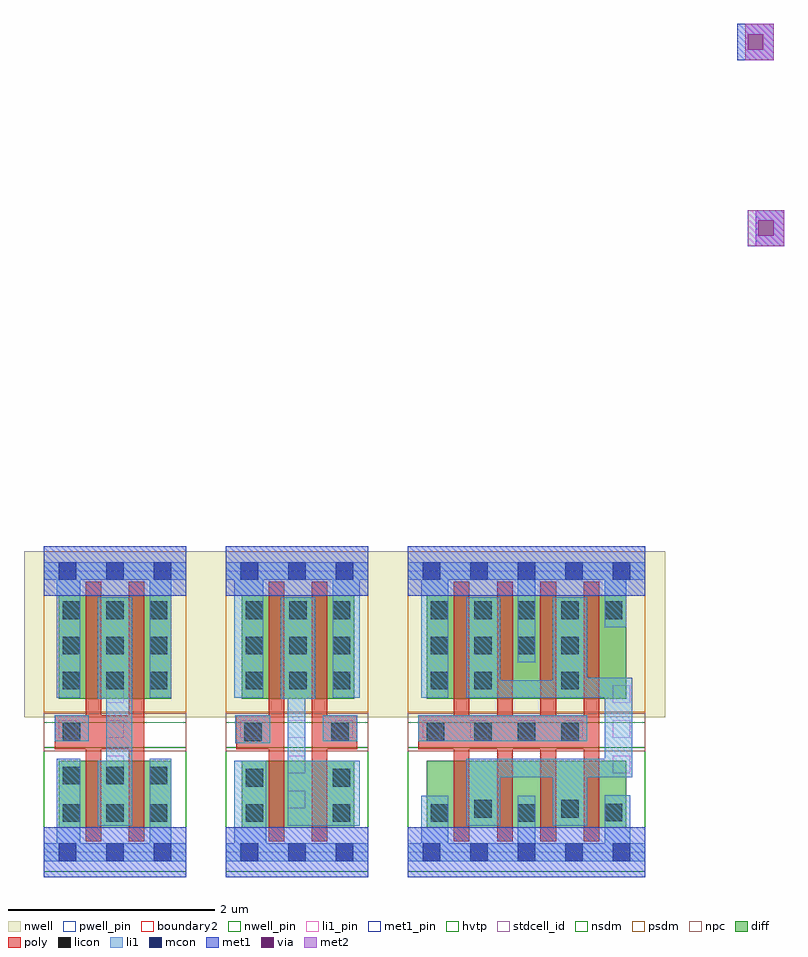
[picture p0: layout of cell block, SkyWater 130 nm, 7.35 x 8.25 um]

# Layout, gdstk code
import gdstk
lib = gdstk.Library(unit=1e-6, precision=1e-09)
def R(c, l, rs):  # rectangles x0, y0, x1, y1
    for r in rs: c.add(gdstk.rectangle(r[:2], r[2:], *l))
def A(c, l, x, y, w, h, nx, ny, dx, dy):  # array of equal rectangles
    R(c, l, [(x+i*dx, y+j*dy, x+i*dx+w, y+j*dy+h) for i in range(nx) for j in range(ny)])
def P(c, l, *ps):  # polygons
    for p in ps: c.add(gdstk.Polygon(p, *l))
nwell_pin = (64, 16)
nwell = (64, 20)
diff = (65, 20)
poly = (66, 20)
licon = (66, 44)
li1_pin = (67, 16)
li1 = (67, 20)
mcon = (67, 44)
met1_pin = (68, 16)
met1 = (68, 20)
via = (68, 44)
met2 = (69, 20)
hvtp = (78, 44)
stdcell_id = (81, 4)
nsdm = (93, 44)
psdm = (94, 20)
npc = (95, 20)
pwell_pin = (122, 16)
boundary2 = (236, 0)

sky130_fd_sc_hd__inv_2 = lib.new_cell('sky130_fd_sc_hd__inv_2')
R(sky130_fd_sc_hd__inv_2, nwell_pin, [(0.145,2.635,0.315,2.805)])
R(sky130_fd_sc_hd__inv_2, nwell, [(-0.19,1.305,1.57,2.91)])
R(sky130_fd_sc_hd__inv_2, diff, [(0.145,0.235,1.235,0.885), (0.145,1.485,1.235,2.485)])
P(sky130_fd_sc_hd__inv_2, poly, [(0.405,0.105),(0.405,0.995),(0.105,0.995),(0.105,1.325),(0.405,1.325),(0.405,2.615),(0.555,2.615),(0.555,1.325),(0.825,1.325),(0.825,2.615),(0.975,2.615),(0.975,0.105),(0.825,0.105),(0.825,0.995),(0.555,0.995),(0.555,0.105)])
A(sky130_fd_sc_hd__inv_2, licon, 0.185, 0.295, 0.17, 0.17, 3, 2, 0.42, 0.36)
A(sky130_fd_sc_hd__inv_2, licon, 0.185, 1.575, 0.17, 0.17, 3, 3, 0.42, 0.34)
R(sky130_fd_sc_hd__inv_2, licon, [(0.185,1.075,0.355,1.245)])
A(sky130_fd_sc_hd__inv_2, li1_pin, 0.605, 0.765, 0.17, 0.17, 1, 3, 0, 0.34)
R(sky130_fd_sc_hd__inv_2, li1_pin, [(0.145,1.105,0.315,1.275)])
R(sky130_fd_sc_hd__inv_2, li1, [(0.105,1.075,0.435,1.325)])
P(sky130_fd_sc_hd__inv_2, li1, [(0.125,1.495),(0.125,2.635),(0,2.635),(0,2.805),(1.38,2.805),(1.38,2.635),(1.235,2.635),(1.235,1.495),(1.025,1.495),(1.025,2.635),(0.355,2.635),(0.355,1.495)],
  [(0.525,0.255),(0.525,0.885),(0.605,0.885),(0.605,1.485),(0.525,1.485),(0.525,2.465),(0.855,2.465),(0.855,0.255)],
  [(0,-0.085),(0,0.085),(0.125,0.085),(0.125,0.905),(0.355,0.905),(0.355,0.085),(1.025,0.085),(1.025,0.905),(1.235,0.905),(1.235,0.085),(1.38,0.085),(1.38,-0.085)])
A(sky130_fd_sc_hd__inv_2, mcon, 0.145, -0.085, 0.17, 0.17, 3, 2, 0.46, 2.72)
R(sky130_fd_sc_hd__inv_2, met1_pin, [(0.145,-0.085,0.315,0.085), (0.145,2.635,0.315,2.805)])
R(sky130_fd_sc_hd__inv_2, hvtp, [(0,1.25,1.38,2.72)])
R(sky130_fd_sc_hd__inv_2, stdcell_id, [(0,0,1.38,2.72)])
R(sky130_fd_sc_hd__inv_2, nsdm, [(0,-0.19,1.38,1.015)])
R(sky130_fd_sc_hd__inv_2, psdm, [(0,1.355,1.38,2.91)])
R(sky130_fd_sc_hd__inv_2, npc, [(0,0.975,1.38,1.345)])
R(sky130_fd_sc_hd__inv_2, pwell_pin, [(0.145,-0.085,0.315,0.085)])
R(sky130_fd_sc_hd__inv_2, boundary2, [(0,0,1.38,2.72)])
sky130_fd_sc_hd__inv_2.add(gdstk.FlexPath([(0,2.72),(1.38,2.72)], 0.48, ends="flush", simple_path=True, layer=68, datatype=20))  # met1
sky130_fd_sc_hd__inv_2.add(gdstk.FlexPath([(0,0),(1.38,0)], 0.48, ends="flush", simple_path=True, layer=68, datatype=20))  # met1
sky130_fd_sc_hd__inv_2.add(gdstk.Label('A', (0.23,1.19), layer=67, texttype=5))
sky130_fd_sc_hd__inv_2.add(gdstk.Label('Y', (0.69,0.85), layer=67, texttype=5))
sky130_fd_sc_hd__inv_2.add(gdstk.Label('Y', (0.69,1.53), layer=67, texttype=5))
sky130_fd_sc_hd__inv_2.add(gdstk.Label('Y', (0.69,1.19), layer=67, texttype=5))
sky130_fd_sc_hd__inv_2.add(gdstk.Label('VPB', (0.23,2.72), layer=64, texttype=5))
sky130_fd_sc_hd__inv_2.add(gdstk.Label('VNB', (0.23,0), layer=64, texttype=59))
sky130_fd_sc_hd__inv_2.add(gdstk.Label('VPWR', (0.23,2.72), layer=68, texttype=5))
sky130_fd_sc_hd__inv_2.add(gdstk.Label('VGND', (0.23,0), layer=68, texttype=5))
sky130_fd_sc_hd__inv_2.add(gdstk.Label('inv_2', (0,0), layer=83, texttype=44))

sky130_fd_sc_hd__nand2_1 = lib.new_cell('sky130_fd_sc_hd__nand2_1')
R(sky130_fd_sc_hd__nand2_1, nwell_pin, [(0.14,2.635,0.31,2.805)])
R(sky130_fd_sc_hd__nand2_1, nwell, [(-0.19,1.305,1.57,2.91)])
R(sky130_fd_sc_hd__nand2_1, diff, [(0.155,0.235,1.245,0.885), (0.155,1.485,1.245,2.485)])
P(sky130_fd_sc_hd__nand2_1, poly, [(0.835,0.105),(0.835,2.615),(0.985,2.615),(0.985,1.325),(1.275,1.325),(1.275,0.995),(0.985,0.995),(0.985,0.105)],
  [(0.415,0.105),(0.415,0.995),(0.105,0.995),(0.105,1.325),(0.415,1.325),(0.415,2.615),(0.565,2.615),(0.565,0.105)])
A(sky130_fd_sc_hd__nand2_1, licon, 0.195, 1.575, 0.17, 0.17, 3, 3, 0.42, 0.34)
R(sky130_fd_sc_hd__nand2_1, licon, [(0.195,0.295,0.365,0.465), (1.035,0.295,1.205,0.465), (0.195,0.635,0.365,0.805), (1.035,0.635,1.205,0.805), (0.18,1.075,0.35,1.245), (1.02,1.075,1.19,1.245)])
A(sky130_fd_sc_hd__nand2_1, li1_pin, 0.14, 1.105, 0.17, 0.17, 3, 1, 0.46, 0)
R(sky130_fd_sc_hd__nand2_1, li1_pin, [(0.6,0.425,0.77,0.595), (0.6,0.765,0.77,0.935)])
R(sky130_fd_sc_hd__nand2_1, li1, [(0.095,1.055,0.43,1.325), (0.94,1.075,1.275,1.325)])
P(sky130_fd_sc_hd__nand2_1, li1, [(0,-0.085),(0,0.085),(0.085,0.085),(0.085,0.885),(0.395,0.885),(0.395,0.085),(1.38,0.085),(1.38,-0.085)],
  [(0.085,1.495),(0.085,2.635),(0,2.635),(0,2.805),(1.38,2.805),(1.38,2.635),(1.295,2.635),(1.295,1.495),(1.035,1.495),(1.035,2.635),(0.365,2.635),(0.365,1.495)],
  [(0.6,0.255),(0.6,1.485),(0.535,1.485),(0.535,2.465),(0.865,2.465),(0.865,1.485),(0.77,1.485),(0.77,0.885),(1.295,0.885),(1.295,0.255)])
A(sky130_fd_sc_hd__nand2_1, mcon, 0.145, -0.085, 0.17, 0.17, 3, 2, 0.46, 2.72)
R(sky130_fd_sc_hd__nand2_1, met1_pin, [(0.14,-0.085,0.31,0.085), (0.14,2.635,0.31,2.805)])
R(sky130_fd_sc_hd__nand2_1, hvtp, [(0,1.25,1.38,2.72)])
R(sky130_fd_sc_hd__nand2_1, stdcell_id, [(0,0,1.38,2.72)])
R(sky130_fd_sc_hd__nand2_1, nsdm, [(0,-0.19,1.38,1.015)])
R(sky130_fd_sc_hd__nand2_1, psdm, [(0,1.355,1.38,2.91)])
R(sky130_fd_sc_hd__nand2_1, npc, [(0,0.975,1.38,1.345)])
R(sky130_fd_sc_hd__nand2_1, pwell_pin, [(0.14,-0.085,0.31,0.085)])
R(sky130_fd_sc_hd__nand2_1, boundary2, [(0,0,1.38,2.72)])
sky130_fd_sc_hd__nand2_1.add(gdstk.FlexPath([(0,2.72),(1.38,2.72)], 0.48, ends="flush", simple_path=True, layer=68, datatype=20))  # met1
sky130_fd_sc_hd__nand2_1.add(gdstk.FlexPath([(0,0),(1.38,0)], 0.48, ends="flush", simple_path=True, layer=68, datatype=20))  # met1
sky130_fd_sc_hd__nand2_1.add(gdstk.Label('Y', (0.685,0.51), layer=67, texttype=5))
sky130_fd_sc_hd__nand2_1.add(gdstk.Label('Y', (0.685,0.85), layer=67, texttype=5))
sky130_fd_sc_hd__nand2_1.add(gdstk.Label('Y', (0.685,1.19), layer=67, texttype=5))
sky130_fd_sc_hd__nand2_1.add(gdstk.Label('B', (0.225,1.19), layer=67, texttype=5))
sky130_fd_sc_hd__nand2_1.add(gdstk.Label('A', (1.145,1.19), layer=67, texttype=5))
sky130_fd_sc_hd__nand2_1.add(gdstk.Label('VPB', (0.225,2.72), layer=64, texttype=5))
sky130_fd_sc_hd__nand2_1.add(gdstk.Label('VNB', (0.225,0), layer=64, texttype=59))
sky130_fd_sc_hd__nand2_1.add(gdstk.Label('VGND', (0.23,0), layer=68, texttype=5))
sky130_fd_sc_hd__nand2_1.add(gdstk.Label('VPWR', (0.225,2.72), layer=68, texttype=5))
sky130_fd_sc_hd__nand2_1.add(gdstk.Label('nand2_1', (0,0), layer=83, texttype=44))

sky130_fd_sc_hd__inv_4 = lib.new_cell('sky130_fd_sc_hd__inv_4')
R(sky130_fd_sc_hd__inv_4, nwell_pin, [(0.145,2.635,0.315,2.805)])
R(sky130_fd_sc_hd__inv_4, nwell, [(-0.19,1.305,2.49,2.91)])
R(sky130_fd_sc_hd__inv_4, diff, [(0.185,0.235,2.115,0.885), (0.185,1.485,2.115,2.485)])
P(sky130_fd_sc_hd__inv_4, poly, [(0.445,0.105),(0.445,0.995),(0.105,0.995),(0.105,1.325),(0.445,1.325),(0.445,2.615),(0.595,2.615),(0.595,1.325),(0.865,1.325),(0.865,2.615),(1.015,2.615),(1.015,1.325),(1.285,1.325),(1.285,2.615),(1.435,2.615),(1.435,1.325),(1.705,1.325),(1.705,2.615),(1.855,2.615),(1.855,0.105),(1.705,0.105),(1.705,0.995),(1.435,0.995),(1.435,0.105),(1.285,0.105),(1.285,0.995),(1.015,0.995),(1.015,0.105),(0.865,0.105),(0.865,0.995),(0.595,0.995),(0.595,0.105)])
A(sky130_fd_sc_hd__inv_4, licon, 0.645, 1.075, 0.17, 0.17, 3, 1, 0.42, 0)
A(sky130_fd_sc_hd__inv_4, licon, 0.225, 1.915, 0.17, 0.17, 4, 1, 0.42, 0)
A(sky130_fd_sc_hd__inv_4, licon, 0.225, 2.255, 0.17, 0.17, 5, 1, 0.42, 0)
R(sky130_fd_sc_hd__inv_4, licon, [(0.225,0.295,0.395,0.465), (1.065,0.295,1.235,0.465), (1.905,0.3,2.075,0.47), (0.645,0.335,0.815,0.505), (1.485,0.335,1.655,0.505), (0.185,1.075,0.355,1.245), (0.225,1.575,0.395,1.745), (0.645,1.575,0.815,1.745), (1.485,1.575,1.655,1.745)])
A(sky130_fd_sc_hd__inv_4, li1_pin, 0.145, 1.105, 0.17, 0.17, 5, 1, 0.46, 0)
R(sky130_fd_sc_hd__inv_4, li1_pin, [(1.985,0.765,2.155,0.935), (1.985,1.445,2.155,1.615)])
R(sky130_fd_sc_hd__inv_4, li1, [(0.105,1.075,1.735,1.325)])
P(sky130_fd_sc_hd__inv_4, li1, [(0,-0.085),(0,0.085),(0.13,0.085),(0.13,0.545),(0.395,0.545),(0.395,0.085),(1.065,0.085),(1.065,0.545),(1.235,0.545),(1.235,0.085),(1.905,0.085),(1.905,0.55),(2.155,0.55),(2.155,0.085),(2.3,0.085),(2.3,-0.085)],
  [(0.13,1.495),(0.13,2.635),(0,2.635),(0,2.805),(2.3,2.805),(2.3,2.635),(2.115,2.635),(2.115,2.175),(1.905,2.175),(1.905,2.635),(1.235,2.635),(1.235,1.835),(1.065,1.835),(1.065,2.635),(0.395,2.635),(0.395,1.495)],
  [(0.565,0.255),(0.565,0.905),(1.905,0.905),(1.905,1.495),(0.565,1.495),(0.565,2.465),(0.895,2.465),(0.895,1.665),(1.405,1.665),(1.405,2.465),(1.735,2.465),(1.735,1.685),(2.17,1.685),(2.17,0.725),(1.735,0.725),(1.735,0.255),(1.405,0.255),(1.405,0.725),(0.895,0.725),(0.895,0.255)])
A(sky130_fd_sc_hd__inv_4, mcon, 0.145, -0.085, 0.17, 0.17, 5, 2, 0.46, 2.72)
R(sky130_fd_sc_hd__inv_4, met1_pin, [(0.145,-0.085,0.315,0.085), (0.145,2.635,0.315,2.805)])
R(sky130_fd_sc_hd__inv_4, hvtp, [(0,1.25,2.3,2.72)])
R(sky130_fd_sc_hd__inv_4, stdcell_id, [(0,0,2.3,2.72)])
R(sky130_fd_sc_hd__inv_4, nsdm, [(0,-0.19,2.3,1.015)])
R(sky130_fd_sc_hd__inv_4, psdm, [(0,1.355,2.3,2.91)])
R(sky130_fd_sc_hd__inv_4, npc, [(0,0.975,2.3,1.345)])
R(sky130_fd_sc_hd__inv_4, pwell_pin, [(0.145,-0.085,0.315,0.085)])
R(sky130_fd_sc_hd__inv_4, boundary2, [(0,0,2.3,2.72)])
sky130_fd_sc_hd__inv_4.add(gdstk.FlexPath([(0,2.72),(2.3,2.72)], 0.48, ends="flush", simple_path=True, layer=68, datatype=20))  # met1
sky130_fd_sc_hd__inv_4.add(gdstk.FlexPath([(0,0),(2.3,0)], 0.48, ends="flush", simple_path=True, layer=68, datatype=20))  # met1
sky130_fd_sc_hd__inv_4.add(gdstk.Label('Y', (2.07,0.85), layer=67, texttype=5))
sky130_fd_sc_hd__inv_4.add(gdstk.Label('Y', (2.07,1.19), layer=67, texttype=5))
sky130_fd_sc_hd__inv_4.add(gdstk.Label('Y', (2.07,1.53), layer=67, texttype=5))
sky130_fd_sc_hd__inv_4.add(gdstk.Label('A', (0.23,1.19), layer=67, texttype=5))
sky130_fd_sc_hd__inv_4.add(gdstk.Label('A', (0.69,1.19), layer=67, texttype=5))
sky130_fd_sc_hd__inv_4.add(gdstk.Label('A', (1.15,1.19), layer=67, texttype=5))
sky130_fd_sc_hd__inv_4.add(gdstk.Label('A', (1.61,1.19), layer=67, texttype=5))
sky130_fd_sc_hd__inv_4.add(gdstk.Label('VPB', (0.23,2.72), layer=64, texttype=5))
sky130_fd_sc_hd__inv_4.add(gdstk.Label('VNB', (0.23,0), layer=64, texttype=59))
sky130_fd_sc_hd__inv_4.add(gdstk.Label('VPWR', (0.23,2.72), layer=68, texttype=5))
sky130_fd_sc_hd__inv_4.add(gdstk.Label('VGND', (0.23,0), layer=68, texttype=5))
sky130_fd_sc_hd__inv_4.add(gdstk.Label('inv_4', (0,0), layer=83, texttype=44))

block = lib.new_cell('block')
R(block, met1, [(6.885,5.86,7.16,6.21), (6.71,7.66,7.06,8.01)])
R(block, via, [(6.91,5.96,7.06,6.11), (6.81,7.76,6.96,7.91)])
R(block, met2, [(6.81,5.86,7.16,6.21), (6.785,7.66,7.06,8.01)])
block.add(gdstk.Reference(sky130_fd_sc_hd__inv_2, (0,0)))
block.add(gdstk.Reference(sky130_fd_sc_hd__nand2_1, (1.76,0)))
block.add(gdstk.Reference(sky130_fd_sc_hd__inv_4, (3.52,0)))

lib.write_gds('block.gds')
